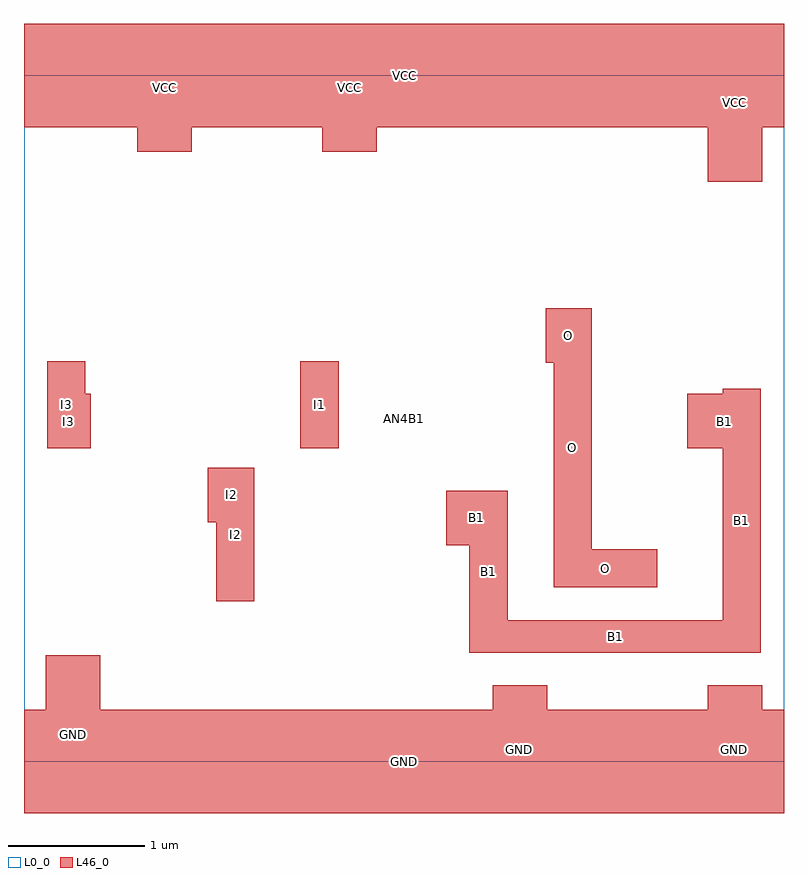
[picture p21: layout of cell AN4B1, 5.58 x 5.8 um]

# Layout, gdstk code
import gdstk
lib = gdstk.Library(unit=1e-6, precision=1e-09)
def R(c, l, rs):  # rectangles x0, y0, x1, y1
    for r in rs: c.add(gdstk.rectangle(r[:2], r[2:], *l))
L0_0 = (0, 0)
L46_0 = (46, 0)

an4b1 = lib.new_cell('AN4B1')
R(an4b1, L0_0, [(0,0,5.58,5.04)])
R(an4b1, L46_0, [(0,-0.38,5.58,0.38), (0.16,-0.38,0.56,0.78), (3.44,-0.38,3.84,0.56), (5.02,-0.38,5.42,0.56), (3.27,0.8,5.41,1.04), (3.27,0.8,3.55,1.99), (5.13,0.8,5.41,2.74), (1.41,1.18,1.69,2.16), (3.89,1.28,4.65,1.56), (3.89,1.28,4.17,3.33), (3.1,1.59,3.55,1.99), (1.35,1.76,1.69,2.16), (0.17,2.3,0.45,2.94), (0.17,2.3,0.49,2.7), (2.03,2.3,2.31,2.94), (4.87,2.3,5.41,2.7), (3.83,2.93,4.17,3.33), (5.02,4.26,5.42,5.42), (0.83,4.48,1.23,5.42), (2.19,4.48,2.59,5.42), (0,4.66,5.58,5.42)])
an4b1.add(gdstk.Label('AN4B1', (2.79,2.52), layer=0, texttype=0))
an4b1.add(gdstk.Label('O', (4,3.13), layer=101, texttype=0))
an4b1.add(gdstk.Label('O', (4.27,1.42), layer=101, texttype=0))
an4b1.add(gdstk.Label('O', (4.03,2.305), layer=101, texttype=0))
an4b1.add(gdstk.Label('I2', (1.52,1.96), layer=101, texttype=0))
an4b1.add(gdstk.Label('I2', (1.55,1.67), layer=101, texttype=0))
an4b1.add(gdstk.Label('I1', (2.17,2.62), layer=101, texttype=0))
an4b1.add(gdstk.Label('B1', (3.325,1.79), layer=101, texttype=0))
an4b1.add(gdstk.Label('B1', (4.34,0.92), layer=101, texttype=0))
an4b1.add(gdstk.Label('B1', (5.14,2.5), layer=101, texttype=0))
an4b1.add(gdstk.Label('B1', (5.27,1.77), layer=101, texttype=0))
an4b1.add(gdstk.Label('B1', (3.41,1.395), layer=101, texttype=0))
an4b1.add(gdstk.Label('I3', (0.33,2.5), layer=101, texttype=0))
an4b1.add(gdstk.Label('I3', (0.31,2.62), layer=101, texttype=0))
an4b1.add(gdstk.Label('GND', (3.64,0.09), layer=101, texttype=0))
an4b1.add(gdstk.Label('GND', (5.22,0.09), layer=101, texttype=0))
an4b1.add(gdstk.Label('GND', (2.79,0), layer=101, texttype=0))
an4b1.add(gdstk.Label('GND', (0.36,0.2), layer=101, texttype=0))
an4b1.add(gdstk.Label('VCC', (2.39,4.95), layer=101, texttype=0))
an4b1.add(gdstk.Label('VCC', (5.22,4.84), layer=101, texttype=0))
an4b1.add(gdstk.Label('VCC', (2.79,5.04), layer=101, texttype=0))
an4b1.add(gdstk.Label('VCC', (1.03,4.95), layer=101, texttype=0))

lib.write_gds('AN4B1.gds')
